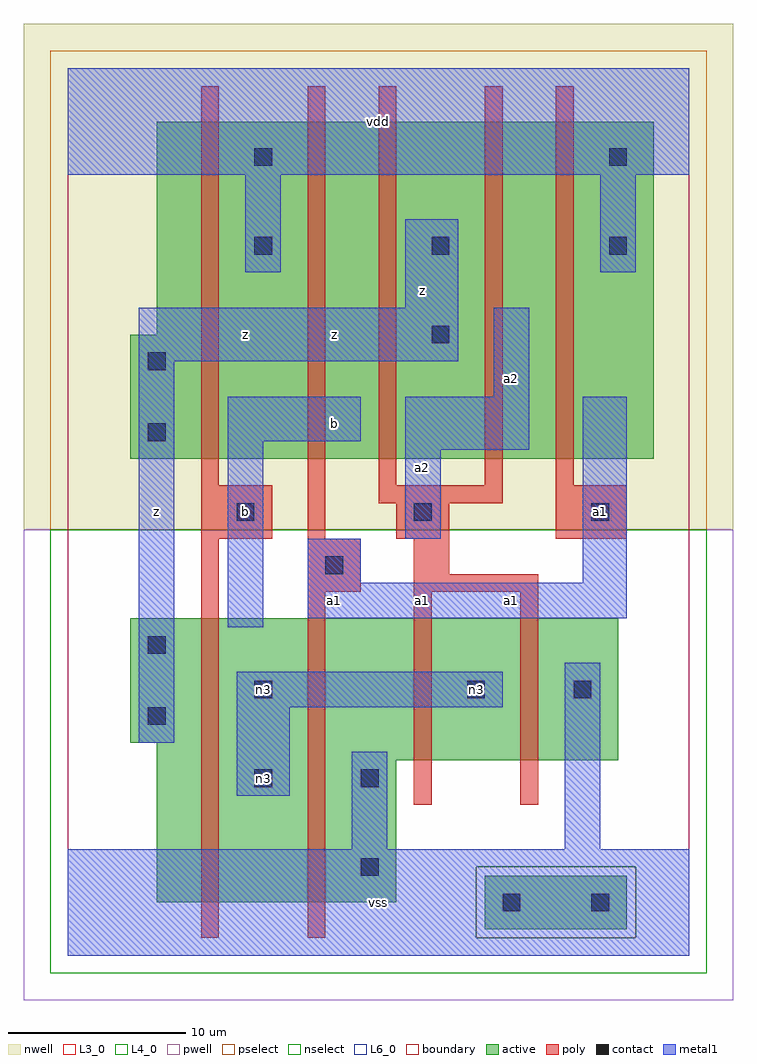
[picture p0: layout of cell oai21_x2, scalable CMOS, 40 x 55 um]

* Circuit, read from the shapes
.subckt oai21_x2 a1 a2 b n3 vdd vss z
M1 n3 b z vss nfet w=16u l=1u
M2 vss a1 n3 vss nfet w=16u l=1u
M3 n3 a2 vss vss nfet w=8u l=1u m=2
M4 vdd b z n1 pfet w=19u l=1u
M5 n2 a1 vdd n1 pfet w=19u l=1u
M6 z a2 n2 n1 pfet w=19u l=1u
M7 n4 a2 z n1 pfet w=19u l=1u
M8 vdd a1 n4 n1 pfet w=19u l=1u
.ends

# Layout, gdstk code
import gdstk
lib = gdstk.Library(unit=1e-6, precision=1e-09)
def R(c, l, rs):  # rectangles x0, y0, x1, y1
    for r in rs: c.add(gdstk.rectangle(r[:2], r[2:], *l))
def A(c, l, x, y, w, h, nx, ny, dx, dy):  # array of equal rectangles
    R(c, l, [(x+i*dx, y+j*dy, x+i*dx+w, y+j*dy+h) for i in range(nx) for j in range(ny)])
L3_0 = (3, 0)
L4_0 = (4, 0)
L6_0 = (6, 0)
contact = (25, 0)
pwell = (41, 0)
nwell = (42, 0)
active = (43, 0)
pselect = (44, 0)
nselect = (45, 0)
poly = (46, 0)
metal1 = (49, 0)
boundary = (63, 0)

oai21_x2 = lib.new_cell('oai21_x2')
R(oai21_x2, L3_0, [(5,3,18.5,11), (5,11,31,12), (3.5,12,31,19)])
R(oai21_x2, L4_0, [(3.5,28,33,35), (5,35,33,47)])
R(oai21_x2, L6_0, [(23.5,1.5,31.5,4.5)])
A(oai21_x2, contact, 9.5, 24.5, 1, 1, 3, 1, 10, 0)
A(oai21_x2, contact, 10.5, 39.5, 1, 1, 3, 1, 10, 0)
R(oai21_x2, contact, [(24.5,2.5,25.5,3.5), (29.5,2.5,30.5,3.5), (16.5,4.5,17.5,5.5), (10.5,9.5,11.5,10.5), (16.5,9.5,17.5,10.5), (4.5,13,5.5,14), (10.5,14.5,11.5,15.5), (22.5,14.5,23.5,15.5), (28.5,14.5,29.5,15.5), (4.5,17,5.5,18), (14.5,21.5,15.5,22.5), (4.5,29,5.5,30), (4.5,33,5.5,34), (20.5,34.5,21.5,35.5), (10.5,44.5,11.5,45.5), (30.5,44.5,31.5,45.5)])
R(oai21_x2, pwell, [(-2.5,-2.5,37.5,24)])
R(oai21_x2, nwell, [(-2.5,24,37.5,52.5)])
R(oai21_x2, active, [(23.5,1.5,31.5,4.5), (5,3,18.5,11), (5,11,31,12), (3.5,12,31,19), (3.5,28,33,35), (5,35,33,47)])
R(oai21_x2, pselect, [(23,1,32,5), (-1,24,36,51)])
R(oai21_x2, nselect, [(-1,-1,36,1), (-1,1,23,5), (32,1,36,5), (-1,5,36,24)])
R(oai21_x2, poly, [(7.5,1,8.5,23.5), (13.5,1,14.5,20.5), (19.5,8.5,20.5,20.5), (25.5,8.5,26.5,20.5), (13.5,20.5,16.5,23.5), (19.5,20.5,26.5,21.5), (19.5,21.5,21.5,23.5), (7.5,23.5,11.5,26.5), (13.5,23.5,14.5,49), (18.5,23.5,21.5,25.5), (27.5,23.5,31.5,26.5), (17.5,25.5,24.5,26.5), (7.5,26.5,8.5,49), (17.5,26.5,18.5,49), (23.5,26.5,24.5,49), (27.5,26.5,28.5,49)])
R(oai21_x2, metal1, [(0,0,35,6), (0,0,35,6), (16,6,18,11.5), (16,6,18,11.5), (28,6,30,16.5), (28,6,30,16.5), (9.5,9,12.5,14), (9.5,9,12.5,14), (4,12,6,33.5), (4,12,6,33.5), (9.5,14,24.5,16), (9.5,14,24.5,16), (9,18.5,11,29), (9,18.5,11,29), (13.5,19,31.5,21), (13.5,19,31.5,21), (13.5,21,16.5,23.5), (13.5,21,16.5,23.5), (29,21,31.5,31.5), (29,21,31.5,31.5), (19,23.5,21,28.5), (19,23.5,21,28.5), (19,28.5,26,31.5), (19,28.5,26,31.5), (9,29,16.5,31.5), (9,29,16.5,31.5), (24,31.5,26,36.5), (24,31.5,26,36.5), (4,33.5,22,36.5), (4,33.5,22,36.5), (19,36.5,22,41.5), (19,36.5,22,41.5), (10,38.5,12,44), (10,38.5,12,44), (30,38.5,32,44), (30,38.5,32,44), (0,44,35,50), (0,44,35,50)])
R(oai21_x2, boundary, [(0,0,35,50)])
oai21_x2.add(gdstk.Label('n3', (11,10), layer=49, texttype=0))
oai21_x2.add(gdstk.Label('n3', (11,15), layer=49, texttype=0))
oai21_x2.add(gdstk.Label('n3', (23,15), layer=49, texttype=0))
oai21_x2.add(gdstk.Label('z', (5,25), layer=49, texttype=0))
oai21_x2.add(gdstk.Label('a1', (15,20), layer=49, texttype=0))
oai21_x2.add(gdstk.Label('b', (10,25), layer=49, texttype=0))
oai21_x2.add(gdstk.Label('z', (10,35), layer=49, texttype=0))
oai21_x2.add(gdstk.Label('z', (15,35), layer=49, texttype=0))
oai21_x2.add(gdstk.Label('b', (15,30), layer=49, texttype=0))
oai21_x2.add(gdstk.Label('vss', (17.5,3), layer=49, texttype=0))
oai21_x2.add(gdstk.Label('a1', (20,20), layer=49, texttype=0))
oai21_x2.add(gdstk.Label('a1', (25,20), layer=49, texttype=0))
oai21_x2.add(gdstk.Label('a2', (20,27.5), layer=49, texttype=0))
oai21_x2.add(gdstk.Label('a2', (25,32.5), layer=49, texttype=0))
oai21_x2.add(gdstk.Label('z', (20,37.5), layer=49, texttype=0))
oai21_x2.add(gdstk.Label('vdd', (17.5,47), layer=49, texttype=0))
oai21_x2.add(gdstk.Label('a1', (30,25), layer=49, texttype=0))

lib.write_gds('oai21_x2.gds')
